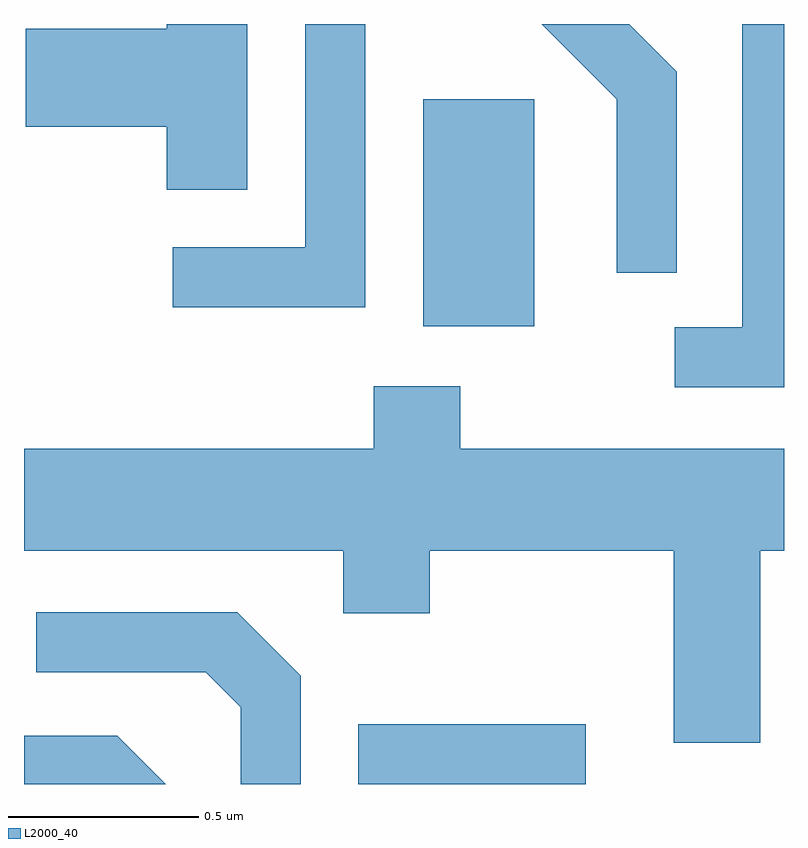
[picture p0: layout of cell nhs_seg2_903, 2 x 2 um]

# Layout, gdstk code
import gdstk
lib = gdstk.Library(unit=1e-6, precision=1e-09)
def R(c, l, rs):  # rectangles x0, y0, x1, y1
    for r in rs: c.add(gdstk.rectangle(r[:2], r[2:], *l))
def P(c, l, *ps):  # polygons
    for p in ps: c.add(gdstk.Polygon(p, *l))
L2000_40 = (2000, 40)

nhs_seg2_903 = lib.new_cell('nhs_seg2_903')
R(nhs_seg2_903, L2000_40, [(192.491,1058.802,193.089,1058.959), (192.661,1060.006,192.954,1060.604)])
P(nhs_seg2_903, L2000_40, [(192.509,1060.802),(192.351,1060.802),(192.351,1060.214),(192.003,1060.214),(192.003,1060.056),(192.509,1060.056)],
  [(193.329,1060.677),(193.204,1060.802),(192.973,1060.802),(193.171,1060.604),(193.171,1060.148),(193.329,1060.148)],
  [(192.199,1060.802),(191.986,1060.802),(191.986,1060.789),(191.616,1060.789),(191.616,1060.531),(191.986,1060.531),(191.986,1060.366),(192.199,1060.366)],
  [(193.611,1060.802),(193.501,1060.802),(193.501,1060.004),(193.323,1060.004),(193.323,1059.846),(193.611,1059.846)],
  [(193.549,1059.416),(193.611,1059.416),(193.611,1059.684),(192.759,1059.684),(192.759,1059.849),(192.531,1059.849),(192.531,1059.684),(191.611,1059.684),(191.611,1059.416),(192.451,1059.416),(192.451,1059.251),(192.679,1059.251),(192.679,1059.416),(193.321,1059.416),(193.321,1058.911),(193.549,1058.911)],
  [(192.339,1059.087),(192.172,1059.254),(191.643,1059.254),(191.643,1059.096),(192.089,1059.096),(192.181,1059.004),(192.181,1058.802),(192.339,1058.802)],
  [(191.857,1058.929),(191.611,1058.929),(191.611,1058.802),(191.984,1058.802)])

lib.write_gds('nhs_seg2_903.gds')
